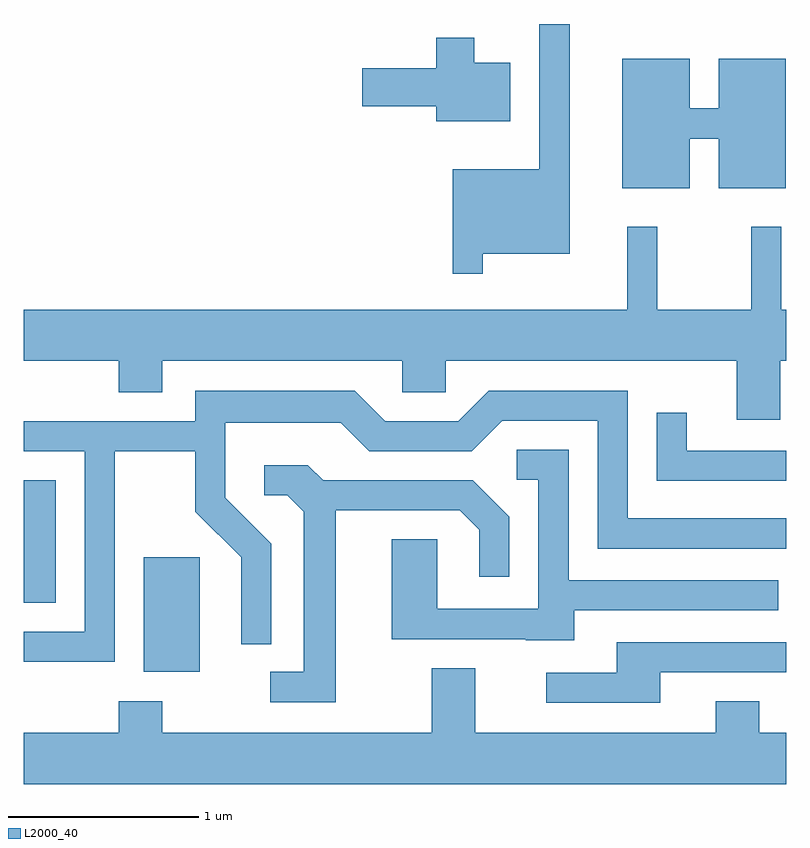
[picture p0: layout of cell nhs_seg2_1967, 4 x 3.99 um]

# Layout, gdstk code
import gdstk
lib = gdstk.Library(unit=1e-6, precision=1e-09)
def R(c, l, rs):  # rectangles x0, y0, x1, y1
    for r in rs: c.add(gdstk.rectangle(r[:2], r[2:], *l))
def P(c, l, *ps):  # polygons
    for p in ps: c.add(gdstk.Polygon(p, *l))
L2000_40 = (2000, 40)

nhs_seg2_1967 = lib.new_cell('nhs_seg2_1967')
R(nhs_seg2_1967, L2000_40, [(242.241,1104.406,242.534,1105.004), (241.611,1104.766,241.779,1105.409)])
P(nhs_seg2_1967, L2000_40, [(244.019,1106.596),(244.474,1106.596),(244.474,1107.802),(244.316,1107.802),(244.316,1107.039),(243.861,1107.039),(243.861,1106.493),(244.019,1106.493)],
  [(244.164,1107.599),(243.974,1107.599),(243.974,1107.729),(243.776,1107.729),(243.776,1107.569),(243.386,1107.569),(243.386,1107.371),(243.776,1107.371),(243.776,1107.291),(244.164,1107.291)],
  [(245.104,1107.201),(245.256,1107.201),(245.256,1106.941),(245.609,1106.941),(245.609,1107.619),(245.256,1107.619),(245.256,1107.359),(245.104,1107.359),(245.104,1107.619),(244.751,1107.619),(244.751,1106.941),(245.104,1106.941)],
  [(245.579,1106.036),(245.611,1106.036),(245.611,1106.304),(245.584,1106.304),(245.584,1106.738),(245.426,1106.738),(245.426,1106.304),(244.934,1106.304),(244.934,1106.738),(244.776,1106.738),(244.776,1106.304),(241.611,1106.304),(241.611,1106.036),(242.111,1106.036),(242.111,1105.871),(242.339,1105.871),(242.339,1106.036),(243.596,1106.036),(243.596,1105.871),(243.824,1105.871),(243.824,1106.036),(245.351,1106.036),(245.351,1105.726),(245.579,1105.726)],
  [(242.089,1105.561),(242.511,1105.561),(242.511,1105.244),(242.751,1105.004),(242.751,1104.548),(242.909,1104.548),(242.909,1105.077),(242.669,1105.317),(242.669,1105.711),(243.274,1105.711),(243.424,1105.561),(243.962,1105.561),(244.122,1105.721),(244.621,1105.721),(244.621,1105.051),(245.611,1105.051),(245.611,1105.209),(244.779,1105.209),(244.779,1105.879),(244.049,1105.879),(243.889,1105.719),(243.507,1105.719),(243.347,1105.879),(242.511,1105.879),(242.511,1105.719),(241.611,1105.719),(241.611,1105.561),(241.931,1105.561),(241.931,1104.614),(241.611,1104.614),(241.611,1104.456),(242.089,1104.456)],
  [(245.611,1105.564),(245.089,1105.564),(245.089,1105.763),(244.931,1105.763),(244.931,1105.406),(245.611,1105.406)],
  [(244.499,1104.726),(245.568,1104.726),(245.568,1104.884),(244.469,1104.884),(244.469,1105.569),(244.198,1105.569),(244.198,1105.411),(244.311,1105.411),(244.311,1104.734),(243.779,1104.734),(243.779,1105.099),(243.541,1105.099),(243.541,1104.576),(244.245,1104.576),(244.245,1104.571),(244.499,1104.571)],
  [(243.249,1105.251),(243.899,1105.251),(244.001,1105.149),(244.001,1104.903),(244.159,1104.903),(244.159,1105.217),(243.967,1105.409),(243.182,1105.409),(243.102,1105.489),(242.873,1105.489),(242.873,1105.331),(242.994,1105.331),(243.081,1105.244),(243.081,1104.404),(242.903,1104.404),(242.903,1104.246),(243.249,1104.246)],
  [(244.949,1104.401),(245.611,1104.401),(245.611,1104.559),(244.721,1104.559),(244.721,1104.399),(244.353,1104.399),(244.353,1104.241),(244.949,1104.241)],
  [(245.611,1104.084),(245.469,1104.084),(245.469,1104.249),(245.241,1104.249),(245.241,1104.084),(243.979,1104.084),(243.979,1104.424),(243.751,1104.424),(243.751,1104.084),(242.339,1104.084),(242.339,1104.249),(242.111,1104.249),(242.111,1104.084),(241.611,1104.084),(241.611,1103.816),(245.611,1103.816)])

lib.write_gds('nhs_seg2_1967.gds')
